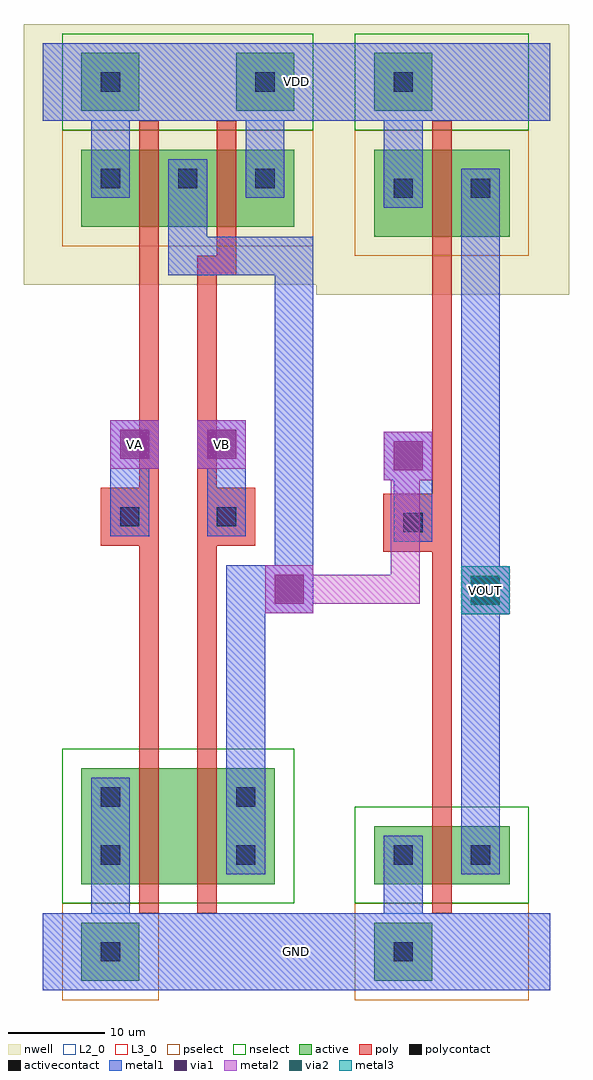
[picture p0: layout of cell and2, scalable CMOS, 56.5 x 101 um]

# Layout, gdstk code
import gdstk
lib = gdstk.Library(unit=1e-6, precision=1e-09)
def R(c, l, rs):  # rectangles x0, y0, x1, y1
    for r in rs: c.add(gdstk.rectangle(r[:2], r[2:], *l))
def A(c, l, x, y, w, h, nx, ny, dx, dy):  # array of equal rectangles
    R(c, l, [(x+i*dx, y+j*dy, x+i*dx+w, y+j*dy+h) for i in range(nx) for j in range(ny)])
def P(c, l, *ps):  # polygons
    for p in ps: c.add(gdstk.Polygon(p, *l))
L2_0 = (2, 0)
L3_0 = (3, 0)
nwell = (42, 0)
active = (43, 0)
pselect = (44, 0)
nselect = (45, 0)
poly = (46, 0)
polycontact = (47, 0)
activecontact = (48, 0)
metal1 = (49, 0)
via1 = (50, 0)
metal2 = (51, 0)
via2 = (61, 0)
metal3 = (62, 0)

nand2 = lib.new_cell('nand2')
R(nand2, nwell, [(402,-492,436,-465)])
R(nand2, active, [(408,-564,414,-558), (408,-554,428,-548), (408,-548,428,-542), (408,-486,430,-484), (408,-484,430,-478), (408,-474,414,-468), (424,-474,430,-468)])
R(nand2, pselect, [(406,-566,416,-556), (406,-488,432,-476)])
R(nand2, nselect, [(406,-556,430,-540), (406,-476,432,-466)])
R(nand2, poly, [(414,-557,416,-545), (420,-557,422,-545), (410,-519,416,-513), (420,-519,426,-513), (414,-489,416,-475), (422,-489,424,-475)])
R(nand2, polycontact, [(412,-517,414,-515), (422,-517,424,-515)])
A(nand2, activecontact, 410, -482, 2, 2, 3, 1, 8, 0)
R(nand2, activecontact, [(410,-562,412,-560), (410,-552,412,-550), (424,-552,426,-550), (410,-546,412,-544), (424,-546,426,-544), (410,-472,412,-470), (426,-472,428,-470)])
A(nand2, metal1, 409, -483, 4, 4, 3, 1, 8, 0)
R(nand2, metal1, [(404,-565,434,-557), (409,-563,413,-559), (409,-553,413,-549), (423,-553,427,-549), (409,-547,413,-543), (423,-547,427,-543), (427,-526,432,-521), (411,-518,415,-514), (421,-518,425,-514), (411,-511,416,-506), (420,-511,425,-506), (404,-475,434,-467), (409,-473,413,-469), (425,-473,429,-469)])
R(nand2, via1, [(428,-525,431,-522), (412,-510,415,-507), (421,-510,424,-507)])
R(nand2, metal2, [(427,-526,432,-521), (411,-511,416,-506), (420,-511,425,-506)])
nand2.add(gdstk.FlexPath([(425,-543),(425,-521)], 4, ends="flush", simple_path=True, layer=49, datatype=0))  # metal1
nand2.add(gdstk.FlexPath([(430,-517),(430,-497)], 4, ends="flush", simple_path=True, layer=49, datatype=0))  # metal1
nand2.add(gdstk.FlexPath([(417,-489),(432,-489)], 4, ends="flush", simple_path=True, layer=49, datatype=0))  # metal1
nand2.add(gdstk.FlexPath([(419,-483),(419,-487)], 4, ends="flush", simple_path=True, layer=49, datatype=0))  # metal1
nand2.add(gdstk.FlexPath([(430,-491),(430,-497)], 4, ends="flush", simple_path=True, layer=49, datatype=0))  # metal1
nand2.add(gdstk.FlexPath([(423,-514),(423,-511)], 4, ends="flush", simple_path=True, layer=49, datatype=0))  # metal1
nand2.add(gdstk.FlexPath([(413,-514),(413,-511)], 4, ends="flush", simple_path=True, layer=49, datatype=0))  # metal1
nand2.add(gdstk.FlexPath([(411,-473),(411,-479)], 4, ends="flush", simple_path=True, layer=49, datatype=0))  # metal1
nand2.add(gdstk.FlexPath([(427,-473),(427,-479)], 4, ends="flush", simple_path=True, layer=49, datatype=0))  # metal1
nand2.add(gdstk.FlexPath([(430,-517),(430,-521)], 4, ends="flush", simple_path=True, layer=49, datatype=0))  # metal1
nand2.add(gdstk.FlexPath([(411,-553),(411,-559)], 4, ends="flush", simple_path=True, layer=49, datatype=0))  # metal1
nand2.add(gdstk.FlexPath([(425,-549),(425,-547)], 4, ends="flush", simple_path=True, layer=49, datatype=0))  # metal1
nand2.add(gdstk.FlexPath([(411,-549),(411,-547)], 4, ends="flush", simple_path=True, layer=49, datatype=0))  # metal1
nand2.add(gdstk.FlexPath([(415,-489),(415,-545)], 2, ends="flush", simple_path=True, layer=46, datatype=0))  # poly
nand2.add(gdstk.FlexPath([(421,-545),(421,-491)], 2, ends="flush", simple_path=True, layer=46, datatype=0))  # poly
nand2.add(gdstk.FlexPath([(420,-490),(424,-490)], 2, ends="flush", simple_path=True, layer=46, datatype=0))  # poly
nand2.add(gdstk.Label('VA', (413.5,-508.5), layer=51, texttype=0))
nand2.add(gdstk.Label('VB', (422.5,-508.5), layer=51, texttype=0))
nand2.add(gdstk.Label('VOUT', (429.5,-523.5), layer=51, texttype=0))
nand2.add(gdstk.Label('VDD', (419,-471), layer=49, texttype=0))
nand2.add(gdstk.Label('GND', (419,-561), layer=49, texttype=0))

inv = lib.new_cell('inv')
R(inv, nwell, [(23.3,75.2,49.5,103.2)])
R(inv, active, [(29.3,4.2,35.3,10.2), (29.3,14.2,43.3,20.2), (29.3,81.2,43.3,84.2), (29.3,84.2,43.3,90.2), (29.3,94.2,35.3,100.2)])
R(inv, pselect, [(27.3,2.2,45.3,12.2), (27.3,79.2,45.3,92.2)])
R(inv, nselect, [(27.3,12.2,45.3,22.2), (27.3,92.2,45.3,102.2)])
R(inv, poly, [(35.3,11.2,37.3,23.2), (30.25,48.6,36.25,54.6), (35.3,75.2,37.3,93.2)])
R(inv, polycontact, [(32.3,50.6,34.3,52.6)])
R(inv, activecontact, [(31.3,6.2,33.3,8.2), (31.3,16.2,33.3,18.2), (39.3,16.2,41.3,18.2), (31.3,85.2,33.3,87.2), (39.3,85.2,41.3,87.2), (31.3,96.2,33.3,98.2)])
R(inv, metal1, [(30.3,5.2,34.3,9.2), (30.3,15.2,34.3,19.2), (38.3,15.2,42.3,19.2), (38.3,42.1,43.3,47.1), (31.3,49.6,35.3,53.6), (30.3,56,35.3,61), (30.3,84.2,34.3,88.2), (38.3,84.2,42.3,88.2), (30.3,95.2,34.3,99.2)])
R(inv, via1, [(39.3,43.1,42.3,46.1), (31.3,57,34.3,60)])
R(inv, metal2, [(38.3,42.1,43.3,47.1), (30.3,56,35.3,61)])
inv.add(gdstk.FlexPath([(24.99,97.2),(47.49,97.2)], 8, ends="flush", simple_path=True, layer=49, datatype=0))  # metal1
inv.add(gdstk.FlexPath([(25,7.2),(47.5,7.2)], 8, ends="flush", simple_path=True, layer=49, datatype=0))  # metal1
inv.add(gdstk.FlexPath([(33.3,53.6),(33.3,56)], 4, ends="flush", simple_path=True, layer=49, datatype=0))  # metal1
inv.add(gdstk.FlexPath([(40.3,42.2),(40.3,19.2)], 4, ends="flush", simple_path=True, layer=49, datatype=0))  # metal1
inv.add(gdstk.FlexPath([(32.3,88.2),(32.3,95.2)], 4, ends="flush", simple_path=True, layer=49, datatype=0))  # metal1
inv.add(gdstk.FlexPath([(40.3,79.2),(40.3,84.2)], 4, ends="flush", simple_path=True, layer=49, datatype=0))  # metal1
inv.add(gdstk.FlexPath([(32.3,9.2),(32.3,15.2)], 4, ends="flush", simple_path=True, layer=49, datatype=0))  # metal1
inv.add(gdstk.FlexPath([(40.3,42.1),(40.3,79.6)], 4, ends="flush", simple_path=True, layer=49, datatype=0))  # metal1
inv.add(gdstk.FlexPath([(36.3,75.2),(36.3,60.2)], 2, ends="flush", simple_path=True, layer=46, datatype=0))  # poly
inv.add(gdstk.FlexPath([(36.3,23.1),(36.3,60.6)], 2, ends="flush", simple_path=True, layer=46, datatype=0))  # poly
inv.add(gdstk.Label('VOUT', (40.8,44.6), layer=51, texttype=0))
inv.add(gdstk.Label('VIN', (32.8,58.5), layer=51, texttype=0))
inv.add(gdstk.Label('VDD', (36.24,97.2), layer=49, texttype=0))
inv.add(gdstk.Label('GND', (36.25,7.2), layer=49, texttype=0))
inv.add(gdstk.Label('VIN', (32.8,58.5), layer=3, texttype=0))
inv.add(gdstk.Label('VOUT', (40.8,44.6), layer=3, texttype=0))

and2 = lib.new_cell('and2')
R(and2, L2_0, [(1.5,63.85,53.99,71.85), (1.5,153.85,53.99,161.85)])
R(and2, L3_0, [(44.8,102.75,49.8,107.75), (8.5,117.85,13.5,122.85), (17.5,117.85,22.5,122.85)])
R(and2, metal2, [(8.5,117.85,13.5,122.85), (17.5,117.85,22.5,122.85)])
P(and2, metal2, [(28.49,103.85),(40.5,103.85),(40.5,118.11),(37.5,118.11),(37.5,106.85),(28.49,106.85)])
R(and2, via2, [(45.8,103.75,48.8,106.75)])
R(and2, metal3, [(44.8,102.75,49.8,107.75)])
and2.add(gdstk.Reference(nand2, (-402.5,628.85)))
and2.add(gdstk.Reference(inv, (6.5,60.65)))
and2.add(gdstk.Label('VDD', (27.745,157.85), layer=2, texttype=0))
and2.add(gdstk.Label('GND', (27.745,67.85), layer=2, texttype=0))
and2.add(gdstk.Label('VA', (11,120.35), layer=3, texttype=0))
and2.add(gdstk.Label('VB', (20,120.35), layer=3, texttype=0))
and2.add(gdstk.Label('VOUT', (47.3,105.25), layer=3, texttype=0))
and2.add(gdstk.Label('/VOUT', (47.3,105.25), layer=62, texttype=0))
and2.add(gdstk.Label('/VA', (11,120.35), layer=51, texttype=0))
and2.add(gdstk.Label('/VB', (20,120.35), layer=51, texttype=0))

lib.write_gds('and2.gds')
